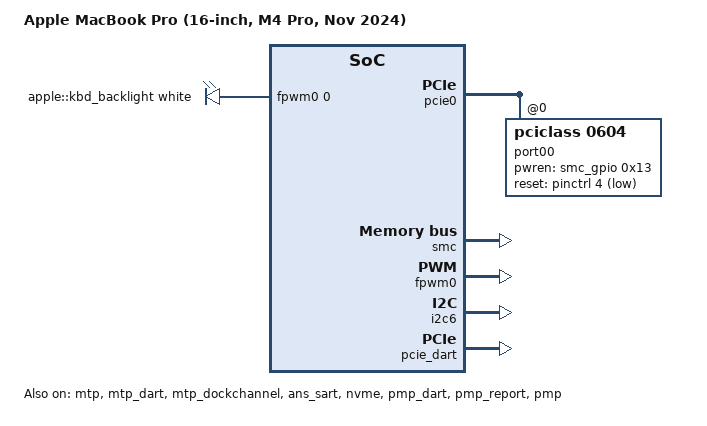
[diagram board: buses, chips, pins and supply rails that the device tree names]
// SPDX-License-Identifier: GPL-2.0+ OR MIT
/*
 * MacBook Pro (16-inch, M4 Pro, Nov 2024)
 *
 * target-type: J616s
 *
 * Copyright The Asahi Linux Contributors
 */

/dts-v1/;

#include "t6040.dtsi"
#include <dt-bindings/gpio/gpio.h>
#include <dt-bindings/leds/common.h>
#include <dt-bindings/thermal/thermal.h>

/ {
	compatible = "apple,j616s", "apple,t6040", "apple,arm-platform";
	model = "Apple MacBook Pro (16-inch, M4 Pro, Nov 2024)";
	chassis-type = "laptop";

	aliases {
		keyboard = &keyboard;
		wifi0 = "/pcie@1cb0000000/pci@0,0/wifi@0,0";
		bluetooth0 = "/pcie@1cb0000000/pci@0,0/bluetooth@0,1";
		/* used by the loader to hand over the display */
		dcp = &dcp;
		disp0 = &display;
	};

	chosen {
		#address-cells = <2>;
		#size-cells = <2>;
		ranges;

		framebuffer0: framebuffer@0 {
			compatible = "apple,simple-framebuffer", "simple-framebuffer";
			reg = <0 0 0 0>; /* To be filled by loader */
			/* Format properties will be added by loader */
			status = "disabled";
		};
	};

	reserved-memory {
		#address-cells = <2>;
		#size-cells = <2>;
		ranges;
		/* The loader adds its own reservations */
	};

	memory@0 {
		device_type = "memory";
		reg = <0 0 0 0>; /* To be filled by loader */
	};

	led-controller {
		compatible = "pwm-leds";

		led-0 {
			pwms = <&fpwm0 0 40000>;
			label = "apple::kbd_backlight";
			function = LED_FUNCTION_KBD_BACKLIGHT;
			color = <LED_COLOR_ID_WHITE>;
			max-brightness = <255>;
		};
	};

	/*
	 * CPU die temperature: SMC key TCMz (CPU die max), sensor 0 of
	 * smc_hwmon. The PMP's fast die-temperature limit regulates (TCMz
	 * settles near 111 C); this zone is the backstop above it: passive at
	 * 113 C, critical (orderly shutdown) at 118 C, polled once a second as
	 * the SMC refreshes TCMz. The cpufreq cooling device sits on a
	 * cluster's policy CPU, so each map lists every CPU of its cluster.
	 */
	thermal-zones {
		cpu-die-thermal {
			polling-delay-passive = <1000>;
			polling-delay = <1000>;
			thermal-sensors = <&smc_hwmon 0>;	/* TCMz */

			trips {
				cpu_die_passive: cpu-die-passive {
					temperature = <113000>;
					hysteresis = <5000>;
					type = "passive";
				};

				cpu-die-critical {
					temperature = <118000>;
					hysteresis = <0>;
					type = "critical";
				};
			};

			cooling-maps {
				map-e {
					trip = <&cpu_die_passive>;
					cooling-device =
						<&cpu_e0 THERMAL_NO_LIMIT THERMAL_NO_LIMIT>,
						<&cpu_e1 THERMAL_NO_LIMIT THERMAL_NO_LIMIT>,
						<&cpu_e2 THERMAL_NO_LIMIT THERMAL_NO_LIMIT>,
						<&cpu_e3 THERMAL_NO_LIMIT THERMAL_NO_LIMIT>;
				};

				map-p0 {
					trip = <&cpu_die_passive>;
					cooling-device =
						<&cpu_p00 THERMAL_NO_LIMIT THERMAL_NO_LIMIT>,
						<&cpu_p01 THERMAL_NO_LIMIT THERMAL_NO_LIMIT>,
						<&cpu_p02 THERMAL_NO_LIMIT THERMAL_NO_LIMIT>,
						<&cpu_p03 THERMAL_NO_LIMIT THERMAL_NO_LIMIT>,
						<&cpu_p04 THERMAL_NO_LIMIT THERMAL_NO_LIMIT>;
				};

				map-p1 {
					trip = <&cpu_die_passive>;
					cooling-device =
						<&cpu_p10 THERMAL_NO_LIMIT THERMAL_NO_LIMIT>,
						<&cpu_p11 THERMAL_NO_LIMIT THERMAL_NO_LIMIT>,
						<&cpu_p12 THERMAL_NO_LIMIT THERMAL_NO_LIMIT>,
						<&cpu_p13 THERMAL_NO_LIMIT THERMAL_NO_LIMIT>,
						<&cpu_p14 THERMAL_NO_LIMIT THERMAL_NO_LIMIT>;
				};
			};
		};
	};
};

&cpuidle {
	status = "okay";
};

&smc {
	status = "okay";
};

&smc_mbox {
	status = "okay";
};

&nub_spmi0 {
	status = "okay";
};

&pinctrl {
	status = "okay";

	wifi_clkreq: wifi-clkreq {
		pinmux = <APPLE_PINMUX(0, 1)>;
	};
};

/*
 * The AP takes none of the always-on bank's interrupts: the AOP firmware
 * owns some of its pins and interrupt registers, and a chained handler here
 * would see their pending bits without a handler of ours.
 */
&pinctrl_nub {
	status = "okay";
	/delete-property/ interrupt-controller;
	/delete-property/ #interrupt-cells;
	/delete-property/ interrupts;
};

&fpwm0 {
	status = "okay";
};

/* The Type-C retimers (ADT atcrt at 0x18/0x19/0x1a) sit on this bus; no driver yet. */
&i2c6 {
	status = "okay";
};

&mtp {
	status = "okay";
};

&mtp_mbox {
	status = "okay";
};

&mtp_dart {
	status = "okay";
};

&mtp_dockchannel {
	status = "okay";
};

&mtp_hid {
	multi-touch {
		firmware-name = "apple/tpmtfw-j616s.bin";
	};

	keyboard: keyboard {
		hid-country-code = <0>;
		apple,keyboard-layout-id = <2>;
	};

	stm {
	};

	actuator {
	};

	tp-accel {
	};

	mtp {
	};
};

&smc_hwmon {
	/*
	 * TCMz must stay the first temperature child: the thermal zone names
	 * the sensor by its index, so the shared hwmon includes below only
	 * append after it.
	 */
	temperature-TCMz {
		apple,key-id = "TCMz";
		label = "CPU Die Max";
	};
};

/* Read-only fan speeds and more SMC sensors; every key exists on this machine's SMC. */
#include "hwmon-common.dtsi"
#include "hwmon-fan-dual.dtsi"
#include "hwmon-laptop.dtsi"

&pcie_dart {
	status = "okay";
};

/*
 * Wi-Fi and Bluetooth (BCM4388). The boot loader adds the per-unit
 * calibration and Bluetooth address to these nodes, and its Bluetooth
 * admission depends on this node exactly as it is; it is kept as the
 * booted tree has it.
 */
/ {
	pcie0: pcie@1cb0000000 {
		compatible = "apple,t6041-pcie", "apple,t6020-pcie";
		reg = <0x1c 0xb0000000 0 0x1000000 4 0x14000000 0 0x4000 4 0x10028000 0 0x4000 4 0x17020000 0 0x4000>;
		reg-names = "config", "rc", "port0", "phy0";
		ranges = <0x43000000 0xb 0xc0000000 0xb 0xc0000000 0 0x20000000 0x2000000 0 0x80000000 0xb 0x80000000 0 0x40000000>;
		pinctrl-names = "default";
		pinctrl-0 = <&wifi_clkreq>;
		#size-cells = <2>;
		#address-cells = <3>;
		bus-range = <0 1>;
		iommu-map-mask = <0xffff>;
		iommu-map = <0x100 &pcie_dart 1 2>;
		msi-ranges = <&aic AIC_IRQ 2071 IRQ_TYPE_EDGE_RISING 32>;
		msi-parent = <&pcie0>;
		msi-controller;
		interrupts = <0 0x6bb 4>;
		interrupt-parent = <&aic>;
		device_type = "pci";

		port00: pci@0,0 {
			compatible = "pciclass,0604";
			reg = <0 0 0 0 0>;
			ranges;
			interrupt-map = <0 0 0 1 &port00 0 0 0 0 0 0 0 2 &port00 0 0 0 1 0 0 0 3 &port00 0 0 0 2 0 0 0 4 &port00 0 0 0 3>;
			interrupt-map-mask = <0 0 0 7>;
			#interrupt-cells = <1>;
			interrupt-controller;
			#size-cells = <2>;
			#address-cells = <3>;
			pwren-gpios = <&smc_gpio 0x13 0>;
			reset-gpios = <&pinctrl 4 1>;
			device_type = "pci";

			bluetooth@0,1 {
				compatible = "pci14e4,5f72";
				reg = <0x100 0 0 0 0>;
				brcm,board-type = "apple,hostomel";
				status = "okay";
			};

			wifi@0,0 {
				compatible = "brcm,bcm4329-fmac";
				reg = <0 0 0 0 0>;
				brcm,ccode-map-trivial;
				brcm,board-type = "apple,hostomel";
			};
		};
	};
};

&ans_mbox {
	status = "okay";
};

&ans_sart {
	status = "okay";
};

&nvme {
	status = "okay";
};

&pmp_dart {
	status = "okay";
};

&pmp_report {
	status = "okay";
};

&pmp {
	status = "okay";
};

&pmp_mbox {
	status = "okay";
};

&dcp {
	panel {
		compatible = "apple,panel-j616", "apple,panel-mini-led", "apple,panel";
		width-mm = <345>;
		height-mm = <223>;
		status = "disabled";
	};
};
